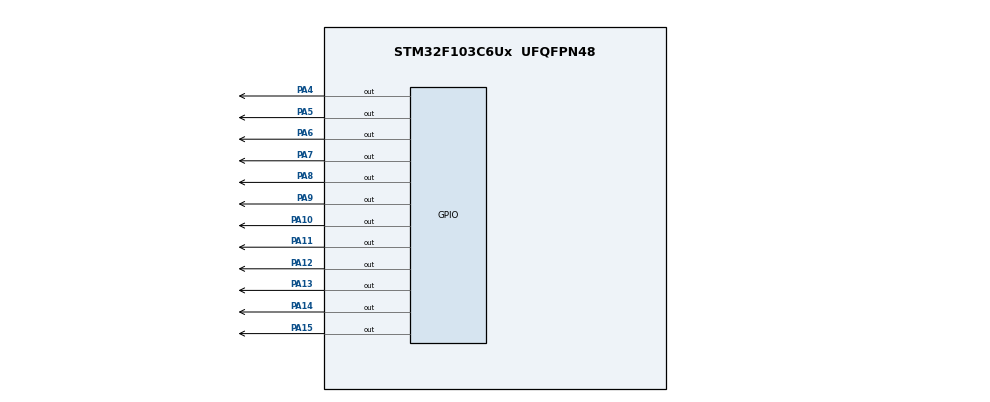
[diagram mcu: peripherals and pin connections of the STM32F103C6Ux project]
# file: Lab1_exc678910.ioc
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Mcu.Family=STM32F1
Mcu.Name=STM32F103C6Ux
Mcu.Package=UFQFPN48
NVIC.PriorityGroup=NVIC_PRIORITYGROUP_4
PA10.Signal=GPIO_Output
PA11.Signal=GPIO_Output
PA12.Signal=GPIO_Output
PA13.Signal=GPIO_Output
PA14.Signal=GPIO_Output
PA15.Signal=GPIO_Output
PA4.Signal=GPIO_Output
PA5.Signal=GPIO_Output
PA6.Signal=GPIO_Output
PA7.Signal=GPIO_Output
PA8.Signal=GPIO_Output
PA9.Signal=GPIO_Output
ProjectManager.HeapSize=0x200
ProjectManager.StackSize=0x400
ProjectManager.TargetToolchain=STM32CubeIDE
RCC.APB1Freq_Value=8000000
RCC.APB2Freq_Value=8000000
VP_SYS_VS_ND.Mode=No_Debug
board=custom

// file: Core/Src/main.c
/* USER CODE BEGIN Header */
/**
  ******************************************************************************
  * @file           : main.c
  * @brief          : Main program body
  ******************************************************************************
  * @attention
  *
  * <h2><center>&copy; Copyright (c) 2026 STMicroelectronics.
  * All rights reserved.</center></h2>
  *
  * This software component is licensed by ST under BSD 3-Clause license,
  * the "License"; You may not use this file except in compliance with the
  * License. You may obtain a copy of the License at:
  *                        opensource.org/licenses/BSD-3-Clause
  *
  ******************************************************************************
  */
/* USER CODE END Header */
#include "main.h"

void SystemClock_Config(void);
static void MX_GPIO_Init(void);

/* USER CODE BEGIN 0 */
void clearAllClock() {
	HAL_GPIO_WritePin(GPIOA, GPIO_PIN_4 | GPIO_PIN_5 | GPIO_PIN_6 | GPIO_PIN_7 |
					  GPIO_PIN_8 | GPIO_PIN_9 | GPIO_PIN_10 | GPIO_PIN_11 |
					  GPIO_PIN_12 | GPIO_PIN_13 | GPIO_PIN_14 | GPIO_PIN_15, GPIO_PIN_SET);
}

void setNumberOnClock(int num) {
    uint16_t clock_pins[12] = {GPIO_PIN_4, GPIO_PIN_5, GPIO_PIN_6, GPIO_PIN_7,
                               GPIO_PIN_8, GPIO_PIN_9, GPIO_PIN_10, GPIO_PIN_11,
                               GPIO_PIN_12, GPIO_PIN_13, GPIO_PIN_14, GPIO_PIN_15};

    /* Check valid input limits */
    if (num >= 0 && num <= 11) {
        HAL_GPIO_WritePin(GPIOA, clock_pins[num], GPIO_PIN_RESET);
    }
}

void clearNumberOnClock(int num) {
    uint16_t clock_pins[12] = {GPIO_PIN_4, GPIO_PIN_5, GPIO_PIN_6, GPIO_PIN_7,
                               GPIO_PIN_8, GPIO_PIN_9, GPIO_PIN_10, GPIO_PIN_11,
                               GPIO_PIN_12, GPIO_PIN_13, GPIO_PIN_14, GPIO_PIN_15};

    /* Check valid input limits */
    if (num >= 0 && num <= 11) {
        HAL_GPIO_WritePin(GPIOA, clock_pins[num], GPIO_PIN_SET);
    }
}
/* USER CODE END 0 */

int main(void)
{

  /* MCU Configuration--------------------------------------------------------*/

  /* Reset of all peripherals, Initializes the Flash interface and the Systick. */
  HAL_Init();

  /* Configure the system clock */
  SystemClock_Config();

  /* Initialize all configured peripherals */
  MX_GPIO_Init();
  /* USER CODE BEGIN 2 */

  /* Declare the initial time (e.g., 00:00:00) */
//  int hour = 0;
//  int minute = 0;
//  int second = 0;

  /* USER CODE END 2 */

  /* Infinite loop */
  /* USER CODE BEGIN WHILE */
  uint16_t clock_pins[12] = {GPIO_PIN_4, GPIO_PIN_5, GPIO_PIN_6, GPIO_PIN_7,
  	                             GPIO_PIN_8, GPIO_PIN_9, GPIO_PIN_10, GPIO_PIN_11,
  	                             GPIO_PIN_12, GPIO_PIN_13, GPIO_PIN_14, GPIO_PIN_15};

  for (int i = 0; i < 12; i++) {
      HAL_GPIO_WritePin(GPIOA, clock_pins[i], GPIO_PIN_SET);
  }

  while (1) {
    /* USER CODE END WHILE */
	  for(int i = 0; i < 12; i++) {
		  HAL_GPIO_WritePin(GPIOA, clock_pins[i], GPIO_PIN_RESET);
		  HAL_Delay(500);
		  HAL_GPIO_WritePin(GPIOA, clock_pins[i], GPIO_PIN_SET);
	  }

  }
}

void SystemClock_Config(void)
{
  RCC_OscInitTypeDef RCC_OscInitStruct = {0};
  RCC_ClkInitTypeDef RCC_ClkInitStruct = {0};

  /** Initializes the RCC Oscillators according to the specified parameters
  * in the RCC_OscInitTypeDef structure.
  */
  RCC_OscInitStruct.OscillatorType = RCC_OSCILLATORTYPE_HSI;
  RCC_OscInitStruct.HSIState = RCC_HSI_ON;
  RCC_OscInitStruct.HSICalibrationValue = RCC_HSICALIBRATION_DEFAULT;
  RCC_OscInitStruct.PLL.PLLState = RCC_PLL_NONE;
  if (HAL_RCC_OscConfig(&RCC_OscInitStruct) != HAL_OK)
  {
    Error_Handler();
  }
  /** Initializes the CPU, AHB and APB buses clocks
  */
  RCC_ClkInitStruct.ClockType = RCC_CLOCKTYPE_HCLK|RCC_CLOCKTYPE_SYSCLK
                              |RCC_CLOCKTYPE_PCLK1|RCC_CLOCKTYPE_PCLK2;
  RCC_ClkInitStruct.SYSCLKSource = RCC_SYSCLKSOURCE_HSI;
  RCC_ClkInitStruct.AHBCLKDivider = RCC_SYSCLK_DIV1;
  RCC_ClkInitStruct.APB1CLKDivider = RCC_HCLK_DIV1;
  RCC_ClkInitStruct.APB2CLKDivider = RCC_HCLK_DIV1;

  if (HAL_RCC_ClockConfig(&RCC_ClkInitStruct, FLASH_LATENCY_0) != HAL_OK)
  {
    Error_Handler();
  }
}

static void MX_GPIO_Init(void)
{
  GPIO_InitTypeDef GPIO_InitStruct = {0};

  /* GPIO Ports Clock Enable */
  __HAL_RCC_GPIOA_CLK_ENABLE();

  /*Configure GPIO pin Output Level */
  HAL_GPIO_WritePin(GPIOA, GPIO_PIN_4|GPIO_PIN_5|GPIO_PIN_6|GPIO_PIN_7
                          |GPIO_PIN_8|GPIO_PIN_9|GPIO_PIN_10|GPIO_PIN_11
                          |GPIO_PIN_12|GPIO_PIN_13|GPIO_PIN_14|GPIO_PIN_15, GPIO_PIN_RESET);

  /*Configure GPIO pins : PA4 PA5 PA6 PA7
                           PA8 PA9 PA10 PA11
                           PA12 PA13 PA14 PA15 */
  GPIO_InitStruct.Pin = GPIO_PIN_4|GPIO_PIN_5|GPIO_PIN_6|GPIO_PIN_7
                          |GPIO_PIN_8|GPIO_PIN_9|GPIO_PIN_10|GPIO_PIN_11
                          |GPIO_PIN_12|GPIO_PIN_13|GPIO_PIN_14|GPIO_PIN_15;
  GPIO_InitStruct.Mode = GPIO_MODE_OUTPUT_PP;
  GPIO_InitStruct.Pull = GPIO_NOPULL;
  GPIO_InitStruct.Speed = GPIO_SPEED_FREQ_LOW;
  HAL_GPIO_Init(GPIOA, &GPIO_InitStruct);

}

void Error_Handler(void)
{
  __disable_irq();
  while (1)
  {
  }
}

/************************ (C) COPYRIGHT STMicroelectronics *****END OF FILE****/
